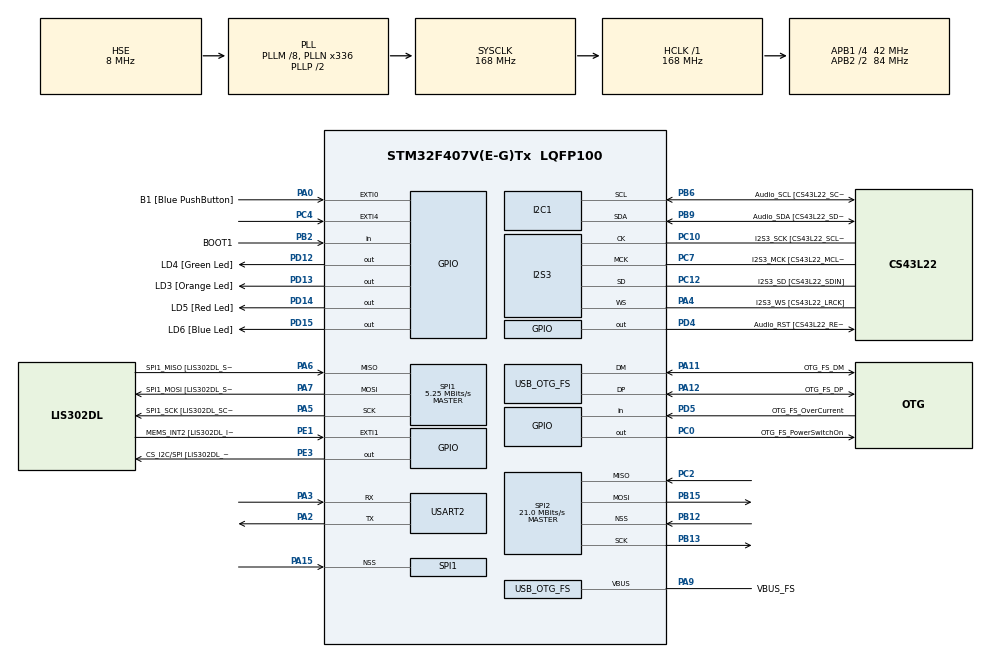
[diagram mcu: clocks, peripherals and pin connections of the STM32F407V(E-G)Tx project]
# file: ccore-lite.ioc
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Dma.Request0=USART2_RX
Dma.Request1=USART2_TX
Dma.Request2=SPI1_RX
Dma.Request3=SPI1_TX
Dma.SPI1_RX.2.Direction=DMA_PERIPH_TO_MEMORY
Dma.SPI1_RX.2.FIFOMode=DMA_FIFOMODE_ENABLE
Dma.SPI1_RX.2.FIFOThreshold=DMA_FIFO_THRESHOLD_FULL
Dma.SPI1_RX.2.Instance=DMA2_Stream0
Dma.SPI1_RX.2.MemBurst=DMA_MBURST_SINGLE
Dma.SPI1_RX.2.MemDataAlignment=DMA_MDATAALIGN_HALFWORD
Dma.SPI1_RX.2.MemInc=DMA_MINC_ENABLE
Dma.SPI1_RX.2.Mode=DMA_NORMAL
Dma.SPI1_RX.2.PeriphBurst=DMA_PBURST_SINGLE
Dma.SPI1_RX.2.PeriphDataAlignment=DMA_PDATAALIGN_HALFWORD
Dma.SPI1_RX.2.PeriphInc=DMA_PINC_DISABLE
Dma.SPI1_RX.2.Priority=DMA_PRIORITY_VERY_HIGH
Dma.SPI1_TX.3.Direction=DMA_MEMORY_TO_PERIPH
Dma.SPI1_TX.3.FIFOMode=DMA_FIFOMODE_ENABLE
Dma.SPI1_TX.3.FIFOThreshold=DMA_FIFO_THRESHOLD_FULL
Dma.SPI1_TX.3.Instance=DMA2_Stream3
Dma.SPI1_TX.3.MemBurst=DMA_MBURST_SINGLE
Dma.SPI1_TX.3.MemDataAlignment=DMA_MDATAALIGN_HALFWORD
Dma.SPI1_TX.3.MemInc=DMA_MINC_ENABLE
Dma.SPI1_TX.3.Mode=DMA_NORMAL
Dma.SPI1_TX.3.PeriphBurst=DMA_PBURST_SINGLE
Dma.SPI1_TX.3.PeriphDataAlignment=DMA_PDATAALIGN_HALFWORD
Dma.SPI1_TX.3.PeriphInc=DMA_PINC_DISABLE
Dma.SPI1_TX.3.Priority=DMA_PRIORITY_HIGH
Dma.USART2_RX.0.Direction=DMA_PERIPH_TO_MEMORY
Dma.USART2_RX.0.FIFOMode=DMA_FIFOMODE_ENABLE
Dma.USART2_RX.0.FIFOThreshold=DMA_FIFO_THRESHOLD_FULL
Dma.USART2_RX.0.Instance=DMA1_Stream5
Dma.USART2_RX.0.MemBurst=DMA_MBURST_SINGLE
Dma.USART2_RX.0.MemDataAlignment=DMA_MDATAALIGN_BYTE
Dma.USART2_RX.0.MemInc=DMA_MINC_ENABLE
Dma.USART2_RX.0.Mode=DMA_NORMAL
Dma.USART2_RX.0.PeriphBurst=DMA_PBURST_SINGLE
Dma.USART2_RX.0.PeriphDataAlignment=DMA_PDATAALIGN_BYTE
Dma.USART2_RX.0.PeriphInc=DMA_PINC_DISABLE
Dma.USART2_RX.0.Priority=DMA_PRIORITY_VERY_HIGH
Dma.USART2_TX.1.Direction=DMA_MEMORY_TO_PERIPH
Dma.USART2_TX.1.FIFOMode=DMA_FIFOMODE_ENABLE
Dma.USART2_TX.1.FIFOThreshold=DMA_FIFO_THRESHOLD_FULL
Dma.USART2_TX.1.Instance=DMA1_Stream6
Dma.USART2_TX.1.MemBurst=DMA_MBURST_SINGLE
Dma.USART2_TX.1.MemDataAlignment=DMA_MDATAALIGN_BYTE
Dma.USART2_TX.1.MemInc=DMA_MINC_ENABLE
Dma.USART2_TX.1.Mode=DMA_NORMAL
Dma.USART2_TX.1.PeriphBurst=DMA_PBURST_SINGLE
Dma.USART2_TX.1.PeriphDataAlignment=DMA_PDATAALIGN_BYTE
Dma.USART2_TX.1.PeriphInc=DMA_PINC_DISABLE
Dma.USART2_TX.1.Priority=DMA_PRIORITY_HIGH
FREERTOS.MEMORY_ALLOCATION=2
FREERTOS.Mutexes01=CommsMux,Static,CommsMuxControlBlock
FREERTOS.Queues01=HspTx,16,McbMsg*,0,Static,HspTxBuffer,HspTxControlBlock;HspRx,16,McbMsg*,0,Static,HspRxBuffer,HspRxControlBlock;UartSlaveTx,16,McbMsg*,0,Static,UartSlaveTxBuffer,UartSlaveTxControlBlock;UartSlaveRx,16,McbMsg*,0,Static,UartSlaveRxBuffer,UartSlaveRxControlBlock
FREERTOS.Tasks01=defaultTask,0,128,StartDefaultTask,Default,NULL,Static,defaultTaskBuffer,defaultTaskControlBlock;HspTask,-2,256,HspFunc,Default,NULL,Static,HspBuffer,HspControlBlock;UserTask,-3,1024,StartUserTask,Default,NULL,Static,UserTaskBuffer,UserTaskControlBlock;McbSlaveTask,-1,1024,StartMcbSlaveTask,Default,NULL,Static,McbSlaveTaskBuffer,McbSlaveTaskControlBlock;BridgeTask,-2,1024,StartBridgeTask,Default,NULL,Static,BridgeTaskBuffer,BridgeTaskControlBlock
FREERTOS.configGENERATE_RUN_TIME_STATS=1
FREERTOS.configUSE_TRACE_FACILITY=1
I2S3.AudioFreq-Half_Duplex_Master=I2S_AUDIOFREQ_96K
I2S3.ErrorAudioFreq=-2.34 %
I2S3.ErrorAudioFreq-Half_Duplex_Master=0.8 %
I2S3.FullDuplexMode=I2S_FULLDUPLEXMODE_DISABLE
I2S3.Instance=SPI$Index
I2S3.RealAudioFreq=93.75 KHz
I2S3.RealAudioFreq-Half_Duplex_Master=96.774 KHz
I2S3.VirtualMode=I2S_MODE_MASTER
Mcu.Family=STM32F4
Mcu.Name=STM32F407V(E-G)Tx
Mcu.Package=LQFP100
NVIC.DMA1_Stream5_IRQn=true\:5\:0\:false\:false\:true\:true\:false
NVIC.DMA1_Stream6_IRQn=true\:5\:0\:false\:false\:true\:true\:false
NVIC.DMA2_Stream0_IRQn=true\:5\:0\:true\:false\:true\:true\:false
NVIC.DMA2_Stream3_IRQn=true\:5\:0\:true\:false\:true\:true\:false
NVIC.EXTI4_IRQn=true\:5\:0\:false\:false\:true\:true\:true
NVIC.OTG_FS_IRQn=true\:5\:0\:false\:false\:true\:true\:true
NVIC.PriorityGroup=NVIC_PRIORITYGROUP_4
NVIC.TIM7_IRQn=true\:6\:0\:true\:false\:true\:true\:true
PA0-WKUP.GPIO_Label=B1 [Blue PushButton]
PA0-WKUP.GPIO_ModeDefaultEXTI=GPIO_MODE_EVT_RISING
PA0-WKUP.GPIO_PuPd=GPIO_NOPULL
PA0-WKUP.Signal=GPXTI0
PA10.GPIO_Label=OTG_FS_ID
PA10.GPIO_Mode=GPIO_MODE_AF_PP
PA10.GPIO_PuPd=GPIO_NOPULL
PA10.GPIO_Speed=GPIO_SPEED_FREQ_LOW
PA10.Signal=USB_OTG_FS_ID
PA11.GPIO_Label=OTG_FS_DM
PA11.GPIO_Mode=GPIO_MODE_AF_PP
PA11.GPIO_PuPd=GPIO_NOPULL
PA11.GPIO_Speed=GPIO_SPEED_FREQ_LOW
PA11.Mode=Device_Only
PA11.Signal=USB_OTG_FS_DM
PA12.GPIO_Label=OTG_FS_DP
PA12.GPIO_Mode=GPIO_MODE_AF_PP
PA12.GPIO_PuPd=GPIO_NOPULL
PA12.GPIO_Speed=GPIO_SPEED_FREQ_LOW
PA12.Mode=Device_Only
PA12.Signal=USB_OTG_FS_DP
PA13.GPIO_Label=SWDIO
PA13.Mode=Serial_Wire
PA13.Signal=SYS_JTMS-SWDIO
PA14.GPIO_Label=SWCLK
PA14.Mode=Serial_Wire
PA14.Signal=SYS_JTCK-SWCLK
PA15.Mode=NSS_Signal_Hard_Input
PA15.Signal=SPI1_NSS
PA2.Mode=Asynchronous
PA2.Signal=USART2_TX
PA3.Mode=Asynchronous
PA3.Signal=USART2_RX
PA4.GPIO_Label=I2S3_WS [CS43L22_LRCK]
PA4.GPIO_Mode=GPIO_MODE_AF_PP
PA4.GPIO_PuPd=GPIO_NOPULL
PA4.GPIO_Speed=GPIO_SPEED_FREQ_LOW
PA4.Mode=Half_Duplex_Master
PA4.Signal=I2S3_WS
PA5.GPIO_Label=SPI1_SCK [LIS302DL_SCL/SPC]
PA5.GPIO_Mode=GPIO_MODE_AF_PP
PA5.GPIO_PuPd=GPIO_NOPULL
PA5.GPIO_Speed=GPIO_SPEED_FREQ_VERY_HIGH
PA5.Mode=Full_Duplex_Master
PA5.Signal=SPI1_SCK
PA6.GPIO_Label=SPI1_MISO [LIS302DL_SDO]
PA6.GPIO_Mode=GPIO_MODE_AF_PP
PA6.GPIO_PuPd=GPIO_NOPULL
PA6.GPIO_Speed=GPIO_SPEED_FREQ_VERY_HIGH
PA6.Mode=Full_Duplex_Master
PA6.Signal=SPI1_MISO
PA7.GPIO_Label=SPI1_MOSI [LIS302DL_SDA/SDI/SDO]
PA7.GPIO_Mode=GPIO_MODE_AF_PP
PA7.GPIO_PuPd=GPIO_NOPULL
PA7.GPIO_Speed=GPIO_SPEED_FREQ_VERY_HIGH
PA7.Mode=Full_Duplex_Master
PA7.Signal=SPI1_MOSI
PA9.GPIO_Label=VBUS_FS
PA9.GPIO_Mode=GPIO_MODE_INPUT
PA9.GPIO_PuPd=GPIO_NOPULL
PA9.Mode=Activate_VBUS
PA9.Signal=USB_OTG_FS_VBUS
PB10.GPIO_Label=CLK_IN [MP45DT02_CLK]
PB10.GPIO_Mode=GPIO_MODE_AF_PP
PB10.GPIO_PuPd=GPIO_NOPULL
PB10.GPIO_Speed=GPIO_SPEED_FREQ_LOW
PB10.Signal=I2S2_CK
PB12.Mode=NSS_Signal_Hard_Input
PB12.Signal=SPI2_NSS
PB13.Mode=Full_Duplex_Master
PB13.Signal=SPI2_SCK
PB15.Mode=Full_Duplex_Master
PB15.Signal=SPI2_MOSI
PB2.GPIO_Label=BOOT1
PB2.GPIO_Mode=GPIO_MODE_INPUT
PB2.GPIO_PuPd=GPIO_NOPULL
PB2.Signal=GPIO_Input
PB3.GPIO_Label=SWO
PB3.Signal=SYS_JTDO-SWO
PB6.GPIO_Label=Audio_SCL [CS43L22_SCL]
PB6.GPIO_Mode=GPIO_MODE_AF_OD
PB6.GPIO_PuPd=GPIO_NOPULL
PB6.GPIO_Speed=GPIO_SPEED_FREQ_LOW
PB6.Mode=I2C
PB6.Signal=I2C1_SCL
PB9.GPIO_Label=Audio_SDA [CS43L22_SDA]
PB9.GPIO_Mode=GPIO_MODE_AF_OD
PB9.GPIO_PuPd=GPIO_NOPULL
PB9.GPIO_Speed=GPIO_SPEED_FREQ_LOW
PB9.Mode=I2C
PB9.Signal=I2C1_SDA
PC0.GPIO_Label=OTG_FS_PowerSwitchOn
PC0.GPIO_PuPd=GPIO_NOPULL
PC0.GPIO_Speed=GPIO_SPEED_FREQ_LOW
PC0.PinState=GPIO_PIN_SET
PC0.Signal=GPIO_Output
PC10.GPIO_Label=I2S3_SCK [CS43L22_SCLK]
PC10.GPIO_Mode=GPIO_MODE_AF_PP
PC10.GPIO_PuPd=GPIO_NOPULL
PC10.GPIO_Speed=GPIO_SPEED_FREQ_LOW
PC10.Mode=Half_Duplex_Master
PC10.Signal=I2S3_CK
PC12.GPIO_Label=I2S3_SD [CS43L22_SDIN]
PC12.GPIO_Mode=GPIO_MODE_AF_PP
PC12.GPIO_PuPd=GPIO_NOPULL
PC12.GPIO_Speed=GPIO_SPEED_FREQ_LOW
PC12.Mode=Half_Duplex_Master
PC12.Signal=I2S3_SD
PC14-OSC32_IN.GPIO_Label=PC14-OSC32_IN
PC14-OSC32_IN.Mode=LSE-External-Oscillator
PC14-OSC32_IN.Signal=RCC_OSC32_IN
PC15-OSC32_OUT.GPIO_Label=PC15-OSC32_OUT
PC15-OSC32_OUT.Mode=LSE-External-Oscillator
PC15-OSC32_OUT.Signal=RCC_OSC32_OUT
PC2.Mode=Full_Duplex_Master
PC2.Signal=SPI2_MISO
PC3.GPIO_Label=PDM_OUT [MP45DT02_DOUT]
PC3.GPIO_Mode=GPIO_MODE_AF_PP
PC3.GPIO_PuPd=GPIO_NOPULL
PC3.GPIO_Speed=GPIO_SPEED_FREQ_LOW
PC3.Signal=I2S2_SD
PC4.Signal=GPXTI4
PC7.GPIO_Label=I2S3_MCK [CS43L22_MCLK]
PC7.GPIO_Mode=GPIO_MODE_AF_PP
PC7.GPIO_PuPd=GPIO_NOPULL
PC7.GPIO_Speed=GPIO_SPEED_FREQ_LOW
PC7.Mode=Master_Clock_Activated
PC7.Signal=I2S3_MCK
PD12.GPIO_Label=LD4 [Green Led]
PD12.GPIO_PuPd=GPIO_NOPULL
PD12.GPIO_Speed=GPIO_SPEED_FREQ_LOW
PD12.Signal=GPIO_Output
PD13.GPIO_Label=LD3 [Orange Led]
PD13.GPIO_PuPd=GPIO_NOPULL
PD13.GPIO_Speed=GPIO_SPEED_FREQ_LOW
PD13.Signal=GPIO_Output
PD14.GPIO_Label=LD5 [Red Led]
PD14.GPIO_PuPd=GPIO_NOPULL
PD14.GPIO_Speed=GPIO_SPEED_FREQ_LOW
PD14.Signal=GPIO_Output
PD15.GPIO_Label=LD6 [Blue Led]
PD15.GPIO_PuPd=GPIO_NOPULL
PD15.GPIO_Speed=GPIO_SPEED_FREQ_LOW
PD15.Signal=GPIO_Output
PD4.GPIO_Label=Audio_RST [CS43L22_RESET]
PD4.GPIO_PuPd=GPIO_NOPULL
PD4.GPIO_Speed=GPIO_SPEED_FREQ_LOW
PD4.Signal=GPIO_Output
PD5.GPIO_Label=OTG_FS_OverCurrent
PD5.GPIO_Mode=GPIO_MODE_INPUT
PD5.GPIO_PuPd=GPIO_NOPULL
PD5.Signal=GPIO_Input
PE1.GPIO_Label=MEMS_INT2 [LIS302DL_INT2]
PE1.GPIO_ModeDefaultEXTI=GPIO_MODE_EVT_RISING
PE1.GPIO_PuPd=GPIO_NOPULL
PE1.Signal=GPXTI1
PE3.GPIO_Label=CS_I2C/SPI [LIS302DL_CS_I2C/SPI]
PE3.GPIO_PuPd=GPIO_NOPULL
PE3.GPIO_Speed=GPIO_SPEED_FREQ_LOW
PE3.Signal=GPIO_Output
PH0-OSC_IN.GPIO_Label=PH0-OSC_IN
PH0-OSC_IN.Mode=HSE-External-Oscillator
PH0-OSC_IN.Signal=RCC_OSC_IN
PH1-OSC_OUT.GPIO_Label=PH1-OSC_OUT
PH1-OSC_OUT.Mode=HSE-External-Oscillator
PH1-OSC_OUT.Signal=RCC_OSC_OUT
ProjectManager.HeapSize=0x200
ProjectManager.StackSize=0x400
ProjectManager.TargetToolchain=TrueSTUDIO
RCC.48MHZClocksFreq_Value=48000000
RCC.AHBFreq_Value=168000000
RCC.APB1CLKDivider=RCC_HCLK_DIV4
RCC.APB1Freq_Value=42000000
RCC.APB1TimFreq_Value=84000000
RCC.APB2CLKDivider=RCC_HCLK_DIV2
RCC.APB2Freq_Value=84000000
RCC.APB2TimFreq_Value=168000000
RCC.CortexFreq_Value=168000000
RCC.HCLKFreq_Value=168000000
RCC.HSE_VALUE=8000000
RCC.HSI_VALUE=16000000
RCC.LSE_VALUE=0
RCC.PLLM=8
RCC.PLLN=336
RCC.PLLQ=7
RCC.SYSCLKFreq_VALUE=168000000
RCC.SYSCLKSource=RCC_SYSCLKSOURCE_PLLCLK
RCC.VCOOutputFreq_Value=336000000
SPI1.BaudRatePrescaler=SPI_BAUDRATEPRESCALER_16
SPI1.CLKPhase=SPI_PHASE_1EDGE
SPI1.CLKPolarity=SPI_POLARITY_HIGH
SPI1.CRCCalculation=SPI_CRCCALCULATION_ENABLE
SPI1.CRCPolynomial=X12+X5+X0
SPI1.CalculateBaudRate=5.25 MBits/s
SPI1.DataSize=SPI_DATASIZE_16BIT
SPI1.Direction=SPI_DIRECTION_2LINES
SPI1.Mode=SPI_MODE_MASTER
SPI1.VirtualNSS=VM_NSSHARD
SPI1.VirtualType=VM_MASTER
SPI2.CalculateBaudRate=21.0 MBits/s
SPI2.DataSize=SPI_DATASIZE_16BIT
SPI2.Direction=SPI_DIRECTION_2LINES
SPI2.Mode=SPI_MODE_MASTER
SPI2.VirtualNSS=VM_NSSHARD
SPI2.VirtualType=VM_MASTER
TIM6.Period=1000
TIM6.Prescaler=42
TIM7.Period=500
TIM7.Prescaler=40000
USART2.VirtualMode=VM_ASYNC
USB_DEVICE.CLASS_NAME_FS=CDC
USB_DEVICE.VirtualMode-CDC_FS=Cdc
USB_DEVICE.VirtualModeFS=Cdc_FS
USB_OTG_FS.VirtualMode=Device_Only
VP_CRC_VS_CRC.Mode=CRC_Activate
VP_FREERTOS_VS_ENABLE.Mode=Enabled
VP_TIM6_VS_ClockSourceINT.Mode=Enable_Timer
VP_TIM7_VS_ClockSourceINT.Mode=Enable_Timer
VP_USB_DEVICE_VS_USB_DEVICE_CDC_FS.Mode=CDC_FS
board=STM32F4DISCOVERY

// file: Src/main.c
/**
  ******************************************************************************
  * @file           : main.c
  * @brief          : Main program body
  ******************************************************************************
  * This notice applies to any and all portions of this file
  * that are not between comment pairs USER CODE BEGIN and
  * USER CODE END. Other portions of this file, whether
  * inserted by the user or by software development tools
  * are owned by their respective copyright owners.
  *
  * Copyright (c) 2018 STMicroelectronics International N.V.
  * All rights reserved.
  *
  * Redistribution and use in source and binary forms, with or without
  * modification, are permitted, provided that the following conditions are met:
  *
  * 1. Redistribution of source code must retain the above copyright notice,
  *    this list of conditions and the following disclaimer.
  * 2. Redistributions in binary form must reproduce the above copyright notice,
  *    this list of conditions and the following disclaimer in the documentation
  *    and/or other materials provided with the distribution.
  * 3. Neither the name of STMicroelectronics nor the names of other
  *    contributors to this software may be used to endorse or promote products
  *    derived from this software without specific written permission.
  * 4. This software, including modifications and/or derivative works of this
  *    software, must execute solely and exclusively on microcontroller or
  *    microprocessor devices manufactured by or for STMicroelectronics.
  * 5. Redistribution and use of this software other than as permitted under
  *    this license is void and will automatically terminate your rights under
  *    this license.
  *
  * THIS SOFTWARE IS PROVIDED BY STMICROELECTRONICS AND CONTRIBUTORS "AS IS"
  * AND ANY EXPRESS, IMPLIED OR STATUTORY WARRANTIES, INCLUDING, BUT NOT
  * LIMITED TO, THE IMPLIED WARRANTIES OF MERCHANTABILITY, FITNESS FOR A
  * PARTICULAR PURPOSE AND NON-INFRINGEMENT OF THIRD PARTY INTELLECTUAL PROPERTY
  * RIGHTS ARE DISCLAIMED TO THE FULLEST EXTENT PERMITTED BY LAW. IN NO EVENT
  * SHALL STMICROELECTRONICS OR CONTRIBUTORS BE LIABLE FOR ANY DIRECT, INDIRECT,
  * INCIDENTAL, SPECIAL, EXEMPLARY, OR CONSEQUENTIAL DAMAGES (INCLUDING, BUT NOT
  * LIMITED TO, PROCUREMENT OF SUBSTITUTE GOODS OR SERVICES; LOSS OF USE, DATA,
  * OR PROFITS; OR BUSINESS INTERRUPTION) HOWEVER CAUSED AND ON ANY THEORY OF
  * LIABILITY, WHETHER IN CONTRACT, STRICT LIABILITY, OR TORT (INCLUDING
  * NEGLIGENCE OR OTHERWISE) ARISING IN ANY WAY OUT OF THE USE OF THIS SOFTWARE,
  * EVEN IF ADVISED OF THE POSSIBILITY OF SUCH DAMAGE.
  *
  ******************************************************************************
  */
#include "main.h"
#include "stm32f4xx_hal.h"
#include "cmsis_os.h"
#include "crc.h"
#include "dma.h"
#include "i2c.h"
#include "i2s.h"
#include "spi.h"
#include "tim.h"
#include "usart.h"
#include "usb_device.h"
#include "gpio.h"

/* USER CODE BEGIN PV */

/* Private variables ---------------------------------------------------------*/

/* USER CODE END PV */

void SystemClock_Config(void);
void MX_FREERTOS_Init(void);

/* USER CODE BEGIN PFP */
/* Private function prototypes -----------------------------------------------*/

/* USER CODE END PFP */

int main(void)
{

  /* MCU Configuration----------------------------------------------------------*/

  /* Reset of all peripherals, Initializes the Flash interface and the Systick. */
  HAL_Init();

  /* Configure the system clock */
  SystemClock_Config();

  /* Initialize all configured peripherals */
  MX_GPIO_Init();
  MX_DMA_Init();
  MX_I2C1_Init();
  MX_I2S3_Init();
  MX_SPI1_Init();
  MX_SPI2_Init();
  MX_TIM6_Init();
  MX_USART2_UART_Init();
  MX_CRC_Init();
  MX_TIM7_Init();
  /* USER CODE BEGIN 2 */

  /** Disable mem IC of the develop board */

  HAL_TIM_Base_Start_IT(TIMER7_BASE_ADDR);
  HAL_GPIO_WritePin(CS_I2C_SPI_GPIO_Port, CS_I2C_SPI_Pin, GPIO_PIN_SET);

  /* USER CODE END 2 */

  /* Call init function for freertos objects (in freertos.c) */
  MX_FREERTOS_Init();

  /* Start scheduler */
  osKernelStart();

  /* We should never get here as control is now taken by the scheduler */

  /* Infinite loop */
  while (1)
  {

  }

}

void SystemClock_Config(void)
{

  RCC_OscInitTypeDef RCC_OscInitStruct;
  RCC_ClkInitTypeDef RCC_ClkInitStruct;
  RCC_PeriphCLKInitTypeDef PeriphClkInitStruct;

    /**Configure the main internal regulator output voltage
    */
  __HAL_RCC_PWR_CLK_ENABLE();

  __HAL_PWR_VOLTAGESCALING_CONFIG(PWR_REGULATOR_VOLTAGE_SCALE1);

    /**Initializes the CPU, AHB and APB busses clocks
    */
  RCC_OscInitStruct.OscillatorType = RCC_OSCILLATORTYPE_HSE;
  RCC_OscInitStruct.HSEState = RCC_HSE_ON;
  RCC_OscInitStruct.PLL.PLLState = RCC_PLL_ON;
  RCC_OscInitStruct.PLL.PLLSource = RCC_PLLSOURCE_HSE;
  RCC_OscInitStruct.PLL.PLLM = 8;
  RCC_OscInitStruct.PLL.PLLN = 336;
  RCC_OscInitStruct.PLL.PLLP = RCC_PLLP_DIV2;
  RCC_OscInitStruct.PLL.PLLQ = 7;
  if (HAL_RCC_OscConfig(&RCC_OscInitStruct) != HAL_OK)
  {
    _Error_Handler(__FILE__, __LINE__);
  }

    /**Initializes the CPU, AHB and APB busses clocks
    */
  RCC_ClkInitStruct.ClockType = RCC_CLOCKTYPE_HCLK|RCC_CLOCKTYPE_SYSCLK
                              |RCC_CLOCKTYPE_PCLK1|RCC_CLOCKTYPE_PCLK2;
  RCC_ClkInitStruct.SYSCLKSource = RCC_SYSCLKSOURCE_PLLCLK;
  RCC_ClkInitStruct.AHBCLKDivider = RCC_SYSCLK_DIV1;
  RCC_ClkInitStruct.APB1CLKDivider = RCC_HCLK_DIV4;
  RCC_ClkInitStruct.APB2CLKDivider = RCC_HCLK_DIV2;

  if (HAL_RCC_ClockConfig(&RCC_ClkInitStruct, FLASH_LATENCY_5) != HAL_OK)
  {
    _Error_Handler(__FILE__, __LINE__);
  }

  PeriphClkInitStruct.PeriphClockSelection = RCC_PERIPHCLK_I2S;
  PeriphClkInitStruct.PLLI2S.PLLI2SN = 192;
  PeriphClkInitStruct.PLLI2S.PLLI2SR = 2;
  if (HAL_RCCEx_PeriphCLKConfig(&PeriphClkInitStruct) != HAL_OK)
  {
    _Error_Handler(__FILE__, __LINE__);
  }

    /**Configure the Systick interrupt time
    */
  HAL_SYSTICK_Config(HAL_RCC_GetHCLKFreq()/1000);

    /**Configure the Systick
    */
  HAL_SYSTICK_CLKSourceConfig(SYSTICK_CLKSOURCE_HCLK);

  /* SysTick_IRQn interrupt configuration */
  HAL_NVIC_SetPriority(SysTick_IRQn, 15, 0);
}

void _Error_Handler(char *file, int line)
{
  while(1)
  {
  }
}

/************************ (C) COPYRIGHT STMicroelectronics *****END OF FILE****/

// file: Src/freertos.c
/**
  ******************************************************************************
  * File Name          : freertos.c
  * Description        : Code for freertos applications
  ******************************************************************************
  * This notice applies to any and all portions of this file
  * that are not between comment pairs USER CODE BEGIN and
  * USER CODE END. Other portions of this file, whether
  * inserted by the user or by software development tools
  * are owned by their respective copyright owners.
  *
  * Copyright (c) 2018 STMicroelectronics International N.V.
  * All rights reserved.
  *
  * Redistribution and use in source and binary forms, with or without
  * modification, are permitted, provided that the following conditions are met:
  *
  * 1. Redistribution of source code must retain the above copyright notice,
  *    this list of conditions and the following disclaimer.
  * 2. Redistributions in binary form must reproduce the above copyright notice,
  *    this list of conditions and the following disclaimer in the documentation
  *    and/or other materials provided with the distribution.
  * 3. Neither the name of STMicroelectronics nor the names of other
  *    contributors to this software may be used to endorse or promote products
  *    derived from this software without specific written permission.
  * 4. This software, including modifications and/or derivative works of this
  *    software, must execute solely and exclusively on microcontroller or
  *    microprocessor devices manufactured by or for STMicroelectronics.
  * 5. Redistribution and use of this software other than as permitted under
  *    this license is void and will automatically terminate your rights under
  *    this license.
  *
  * THIS SOFTWARE IS PROVIDED BY STMICROELECTRONICS AND CONTRIBUTORS "AS IS"
  * AND ANY EXPRESS, IMPLIED OR STATUTORY WARRANTIES, INCLUDING, BUT NOT
  * LIMITED TO, THE IMPLIED WARRANTIES OF MERCHANTABILITY, FITNESS FOR A
  * PARTICULAR PURPOSE AND NON-INFRINGEMENT OF THIRD PARTY INTELLECTUAL PROPERTY
  * RIGHTS ARE DISCLAIMED TO THE FULLEST EXTENT PERMITTED BY LAW. IN NO EVENT
  * SHALL STMICROELECTRONICS OR CONTRIBUTORS BE LIABLE FOR ANY DIRECT, INDIRECT,
  * INCIDENTAL, SPECIAL, EXEMPLARY, OR CONSEQUENTIAL DAMAGES (INCLUDING, BUT NOT
  * LIMITED TO, PROCUREMENT OF SUBSTITUTE GOODS OR SERVICES; LOSS OF USE, DATA,
  * OR PROFITS; OR BUSINESS INTERRUPTION) HOWEVER CAUSED AND ON ANY THEORY OF
  * LIABILITY, WHETHER IN CONTRACT, STRICT LIABILITY, OR TORT (INCLUDING
  * NEGLIGENCE OR OTHERWISE) ARISING IN ANY WAY OUT OF THE USE OF THIS SOFTWARE,
  * EVEN IF ADVISED OF THE POSSIBILITY OF SUCH DAMAGE.
  *
  ******************************************************************************
  */

#include "FreeRTOS.h"
#include "task.h"
#include "cmsis_os.h"

/* USER CODE BEGIN Includes */
#include <stdbool.h>
#include "spi.h"
#include "usart.h"
#include "mcb/mcb.h"
#include "usbd_cdc_if.h"
#include "mcb/frame.h"

/* USER CODE END Includes */

osThreadId defaultTaskHandle;
uint32_t defaultTaskBuffer[ 128 ];
osStaticThreadDef_t defaultTaskControlBlock;
osThreadId HspTaskHandle;
uint32_t HspBuffer[ 256 ];
osStaticThreadDef_t HspControlBlock;
osThreadId UserTaskHandle;
uint32_t UserTaskBuffer[ 1024 ];
osStaticThreadDef_t UserTaskControlBlock;
osThreadId McbSlaveTaskHandle;
uint32_t McbSlaveTaskBuffer[ 1024 ];
osStaticThreadDef_t McbSlaveTaskControlBlock;
osThreadId BridgeTaskHandle;
uint32_t BridgeTaskBuffer[ 1024 ];
osStaticThreadDef_t BridgeTaskControlBlock;
osMessageQId HspTxHandle;
uint8_t HspTxBuffer[ 16 * sizeof( McbMsg* ) ];
osStaticMessageQDef_t HspTxControlBlock;
osMessageQId HspRxHandle;
uint8_t HspRxBuffer[ 16 * sizeof( McbMsg* ) ];
osStaticMessageQDef_t HspRxControlBlock;
osMessageQId UartSlaveTxHandle;
uint8_t UartSlaveTxBuffer[ 16 * sizeof( McbMsg* ) ];
osStaticMessageQDef_t UartSlaveTxControlBlock;
osMessageQId UartSlaveRxHandle;
uint8_t UartSlaveRxBuffer[ 16 * sizeof( McbMsg* ) ];
osStaticMessageQDef_t UartSlaveRxControlBlock;
osMutexId CommsMuxHandle;
osStaticMutexDef_t CommsMuxControlBlock;

/* USER CODE BEGIN Variables */
extern volatile unsigned long ulHighFrequencyTimerTicks;
/* USER CODE END Variables */

void StartDefaultTask(void const * argument);
void HspFunc(void const * argument);
void StartUserTask(void const * argument);
void StartMcbSlaveTask(void const * argument);
void StartBridgeTask(void const * argument);

extern void MX_USB_DEVICE_Init(void);
void MX_FREERTOS_Init(void); /* (MISRA C 2004 rule 8.1) */

/* GetIdleTaskMemory prototype (linked to static allocation support) */
void vApplicationGetIdleTaskMemory( StaticTask_t **ppxIdleTaskTCBBuffer, StackType_t **ppxIdleTaskStackBuffer, uint32_t *pulIdleTaskStackSize );

/* Hook prototypes */
void configureTimerForRunTimeStats(void);
unsigned long getRunTimeCounterValue(void);

/* USER CODE BEGIN 1 */
/* Functions needed when configGENERATE_RUN_TIME_STATS is on */
__weak void configureTimerForRunTimeStats(void)
{

}

__weak unsigned long getRunTimeCounterValue(void)
{
    return ulHighFrequencyTimerTicks;
}
/* USER CODE END 1 */

/* USER CODE BEGIN GET_IDLE_TASK_MEMORY */
static StaticTask_t xIdleTaskTCBBuffer;
static StackType_t xIdleStack[configMINIMAL_STACK_SIZE];

void vApplicationGetIdleTaskMemory(StaticTask_t **ppxIdleTaskTCBBuffer,
                                   StackType_t **ppxIdleTaskStackBuffer,
                                   uint32_t *pulIdleTaskStackSize)
{
    *ppxIdleTaskTCBBuffer = &xIdleTaskTCBBuffer;
    *ppxIdleTaskStackBuffer = &xIdleStack[0];
    *pulIdleTaskStackSize = configMINIMAL_STACK_SIZE;
    /* place for user code */
}
/* USER CODE END GET_IDLE_TASK_MEMORY */

/* Init FreeRTOS */

void MX_FREERTOS_Init(void) {

  /* Create the mutex(es) */
  /* definition and creation of CommsMux */
  osMutexStaticDef(CommsMux, &CommsMuxControlBlock);
  CommsMuxHandle = osMutexCreate(osMutex(CommsMux));

  /* Create the thread(s) */
  /* definition and creation of defaultTask */
  osThreadStaticDef(defaultTask, StartDefaultTask, osPriorityNormal, 0, 128, defaultTaskBuffer, &defaultTaskControlBlock);
  defaultTaskHandle = osThreadCreate(osThread(defaultTask), NULL);

  /* definition and creation of HspTask */
  osThreadStaticDef(HspTask, HspFunc, osPriorityLow, 0, 256, HspBuffer, &HspControlBlock);
  HspTaskHandle = osThreadCreate(osThread(HspTask), NULL);

  /* definition and creation of UserTask */
  osThreadStaticDef(UserTask, StartUserTask, osPriorityIdle, 0, 1024, UserTaskBuffer, &UserTaskControlBlock);
  UserTaskHandle = osThreadCreate(osThread(UserTask), NULL);

  /* definition and creation of McbSlaveTask */
  osThreadStaticDef(McbSlaveTask, StartMcbSlaveTask, osPriorityBelowNormal, 0, 1024, McbSlaveTaskBuffer, &McbSlaveTaskControlBlock);
  McbSlaveTaskHandle = osThreadCreate(osThread(McbSlaveTask), NULL);

  /* definition and creation of BridgeTask */
  osThreadStaticDef(BridgeTask, StartBridgeTask, osPriorityLow, 0, 1024, BridgeTaskBuffer, &BridgeTaskControlBlock);
  BridgeTaskHandle = osThreadCreate(osThread(BridgeTask), NULL);

  /* Create the queue(s) */
  /* definition and creation of HspTx */
  osMessageQStaticDef(HspTx, 16, McbMsg*, HspTxBuffer, &HspTxControlBlock);
  HspTxHandle = osMessageCreate(osMessageQ(HspTx), NULL);

  /* definition and creation of HspRx */
  osMessageQStaticDef(HspRx, 16, McbMsg*, HspRxBuffer, &HspRxControlBlock);
  HspRxHandle = osMessageCreate(osMessageQ(HspRx), NULL);

  /* definition and creation of UartSlaveTx */
  osMessageQStaticDef(UartSlaveTx, 16, McbMsg*, UartSlaveTxBuffer, &UartSlaveTxControlBlock);
  UartSlaveTxHandle = osMessageCreate(osMessageQ(UartSlaveTx), NULL);

  /* definition and creation of UartSlaveRx */
  osMessageQStaticDef(UartSlaveRx, 16, McbMsg*, UartSlaveRxBuffer, &UartSlaveRxControlBlock);
  UartSlaveRxHandle = osMessageCreate(osMessageQ(UartSlaveRx), NULL);

}

/* StartDefaultTask function */
void StartDefaultTask(void const * argument)
{
  /* init code for USB_DEVICE */
  MX_USB_DEVICE_Init();

    for (;;)
    {
        osDelay(1);
    }
}

/* HspFunc function */
void HspFunc(void const * argument)
{
  /* USER CODE BEGIN HspFunc */
    osEvent MsgOut;
    /** SPI initialization */
    McbInst dvrMaster;
    McbInit(&dvrMaster, MCB_OVER_SPI, MCB_MASTER, MCB_BLOCKING);

    /* Infinite loop */
    for (;;)
    {
        MsgOut = osMessageGet(HspTxHandle, osWaitForever);
        if (MsgOut.status == osEventMessage)
        {
            McbMsg* pMcbMsg = (McbMsg*)MsgOut.value.p;

            if (pMcbMsg->u16SubNode == MOCO_NODE)
            {
                HAL_GPIO_WritePin(GPIOD, GPIO_PIN_8, GPIO_PIN_SET);
                uint32_t u32NumTry = 0;
                do
                {
                    switch (pMcbMsg->u16Cmd)
                    {
                        case HSP_REQ_READ:
                            pMcbMsg->eStatus = McbRead(&dvrMaster, pMcbMsg,
                                                       DFLT_TIMEOUT);
                            break;
                        case HSP_REQ_WRITE:
                            pMcbMsg->eStatus = McbWrite(&dvrMaster, pMcbMsg,
                                                        DFLT_TIMEOUT);
                            break;
                        default:
                            pMcbMsg->eStatus = MCB_MESSAGE_ERROR;
                            break;
                    }

                    if (pMcbMsg->eStatus != MCB_MESSAGE_SUCCESS)
                    {
                        /* Error */
                    }

                }while ((pMcbMsg->eStatus != MCB_MESSAGE_SUCCESS)
                        && ((u32NumTry++) < COMMS_NUM_TRY));

                osMessagePut(HspRxHandle, (uint32_t)pMcbMsg, osWaitForever);
                HAL_GPIO_WritePin(GPIOD, GPIO_PIN_8, GPIO_PIN_RESET);
            }
        }
    }
  /* USER CODE END HspFunc */
}

/* StartUserTask function */
void StartUserTask(void const * argument)
{
    for (;;)
    {
        osDelay(1);
    }
}

/* StartMcbSlaveTask function */
void StartMcbSlaveTask(void const * argument)
{
  /* USER CODE BEGIN StartMcbSlaveTask */
    osEvent MsgOut;
    McbMsg mcbMsg;
    McbMsg *pMcbMsg;
    McbInst dvrSlave;
    McbInit(&dvrSlave, MCB_OVER_SERIAL, MCB_SLAVE, MCB_BLOCKING);

    HAL_GPIO_WritePin(GPIOD, LD3_Pin, GPIO_PIN_RESET);
    /* Infinite loop */
    for (;;)
    {
        /* Chek for incoming uart message*/
        pMcbMsg = &mcbMsg;
        if (McbRead(&dvrSlave, pMcbMsg, DFLT_TIMEOUT) == MCB_MESSAGE_SUCCESS)
        {
            if (pMcbMsg->u16Node == NODE)
            {
                osMessagePut(UartSlaveTxHandle, (uint32_t)pMcbMsg,
                             osWaitForever);

                MsgOut = osMessageGet(UartSlaveRxHandle, osWaitForever);
                if (MsgOut.status == osEventMessage)
                {
                    pMcbMsg = (McbMsg*)MsgOut.value.p;
                    if (pMcbMsg->eStatus == MCB_MESSAGE_SUCCESS)
                    {
                        /** Do something */
                    }
                    else
                    {
                        /** Enable Orange led when driver comm fails */
                        HAL_GPIO_WritePin(GPIOD, LD3_Pin, GPIO_PIN_SET);
                    }
                }
            }
            uint32_t u32NumTry = 0;
            do
            {
                pMcbMsg->eStatus = McbWrite(&dvrSlave, pMcbMsg, DFLT_TIMEOUT);

                if (pMcbMsg->eStatus != MCB_MESSAGE_SUCCESS)
                {
                    /* Error */
                    osDelay(100);
                }
            }while ((pMcbMsg->eStatus != MCB_MESSAGE_SUCCESS)
                    && ((u32NumTry++) < COMMS_NUM_TRY));
        }
    }
  /* USER CODE END StartMcbSlaveTask */
}

/* StartBridgeTask function */
void StartBridgeTask(void const * argument)
{
  /* USER CODE BEGIN StartBridgeTask */
    osEvent MsgSlaveOut, MsgMasterOut;
    char cString[16];
    memset(cString, 0, 16);
    /* Infinite loop */
    for (;;)
    {
        MsgSlaveOut = osMessageGet(UartSlaveTxHandle, osWaitForever);

        if (MsgSlaveOut.status == osEventMessage)
        {
            McbMsg* pMcbSlaveMsg = (McbMsg*)MsgSlaveOut.value.p;
            HAL_GPIO_WritePin(GPIOD, GPIO_PIN_9, GPIO_PIN_SET);

            osMessagePut(HspTxHandle, (uint32_t)pMcbSlaveMsg, osWaitForever);

            MsgMasterOut = osMessageGet(HspRxHandle, osWaitForever);
            if (MsgMasterOut.status == osEventMessage)
            {
                McbMsg* pMcbMasterMsg = (McbMsg*)MsgMasterOut.value.p;
                osMessagePut(UartSlaveRxHandle, (uint32_t)pMcbMasterMsg,
                             osWaitForever);
                HAL_GPIO_WritePin(GPIOD, GPIO_PIN_9, GPIO_PIN_RESET);
            }
        }
    }
  /* USER CODE END StartBridgeTask */
}

/************************ (C) COPYRIGHT STMicroelectronics *****END OF FILE****/
